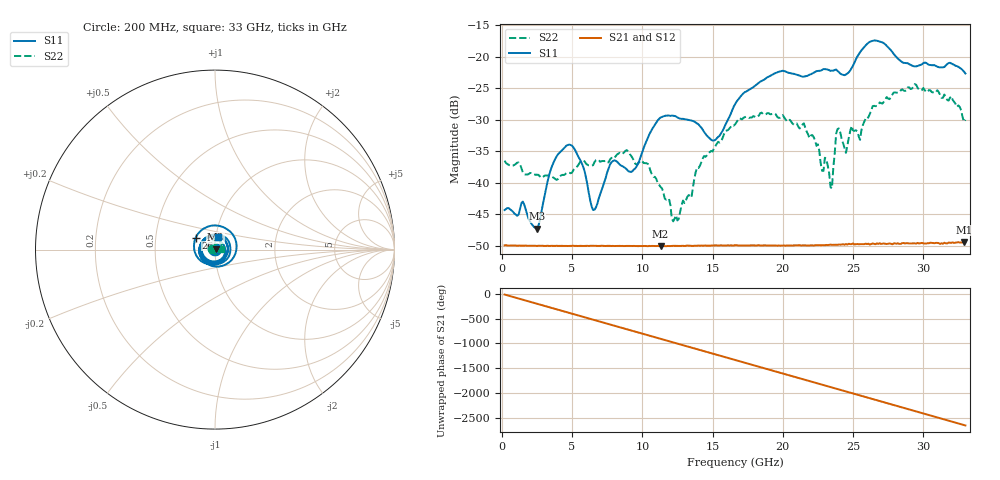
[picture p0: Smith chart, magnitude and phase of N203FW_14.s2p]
# GHZ S RI R 50
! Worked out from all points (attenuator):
!   329 points, 200 MHz to 33 GHz, reference 50 ohm
!   highest |S21| = -49.44 dB at 32.9 GHz (marker M1); lowest = -50.1 dB at 11.3 GHz (marker M2)
!   lowest |S11| = -47.3 dB at 2.5 GHz (marker M3), VSWR 1.01, Z = 50.4 + j0.253 ohm
!   |S11| at or under -10 dB: start of sweep to end of sweep
!   |S22| runs from -46.1 to -24.3 dB; largest |S21 - S12| = 8.8e-05
!   S11 on the Smith chart (normalised r, x): 200 MHz: 1.01, +0.00; 26 GHz: 0.80, +0.11; 33 GHz: 1.03, +0.15
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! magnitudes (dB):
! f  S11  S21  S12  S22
! 200 MHz  -44.3  -50.0  -49.9  -36.5
! 1.5 GHz  -43.0  -50.0  -50.0  -38.4
! 2.5 GHz  -47.3  -50.1  -50.0  -38.7
! 4 GHz  -35.5  -50.0  -50.0  -39.4
! 5.7 GHz  -37.0  -50.0  -50.0  -36.5
! 6.6 GHz  -44.3  -50.0  -50.0  -36.7
! 7.8 GHz  -36.8  -50.1  -50.0  -36.1
! 9.3 GHz  -38.2  -50.1  -50.1  -36.1
! 11.2 GHz  -29.8  -50.1  -50.1  -40.4
! 11.3 GHz  -29.6  -50.1  -50.1  -40.7
! 12.5 GHz  -29.6  -50.1  -50.1  -46.0
! 15.1 GHz  -33.3  -50.0  -50.0  -34.6
! 16.6 GHz  -27.5  -49.9  -49.9  -30.8
! 22.1 GHz  -22.6  -50.0  -49.9  -32.4
! 23.5 GHz  -22.2  -49.9  -49.8  -40.9
! 23.9 GHz  -22.3  -49.9  -49.9  -31.5
! 24.5 GHz  -22.8  -49.8  -49.7  -35.3
! 26 GHz  -18.0  -49.8  -49.7  -29.9
! 27.6 GHz  -18.7  -49.7  -49.7  -26.7
! 31 GHz  -21.6  -49.6  -49.6  -25.3
! 32.9 GHz  -22.3  -49.4  -49.4  -30.3
! 33 GHz  -22.6  -49.5  -49.5  -30.0
